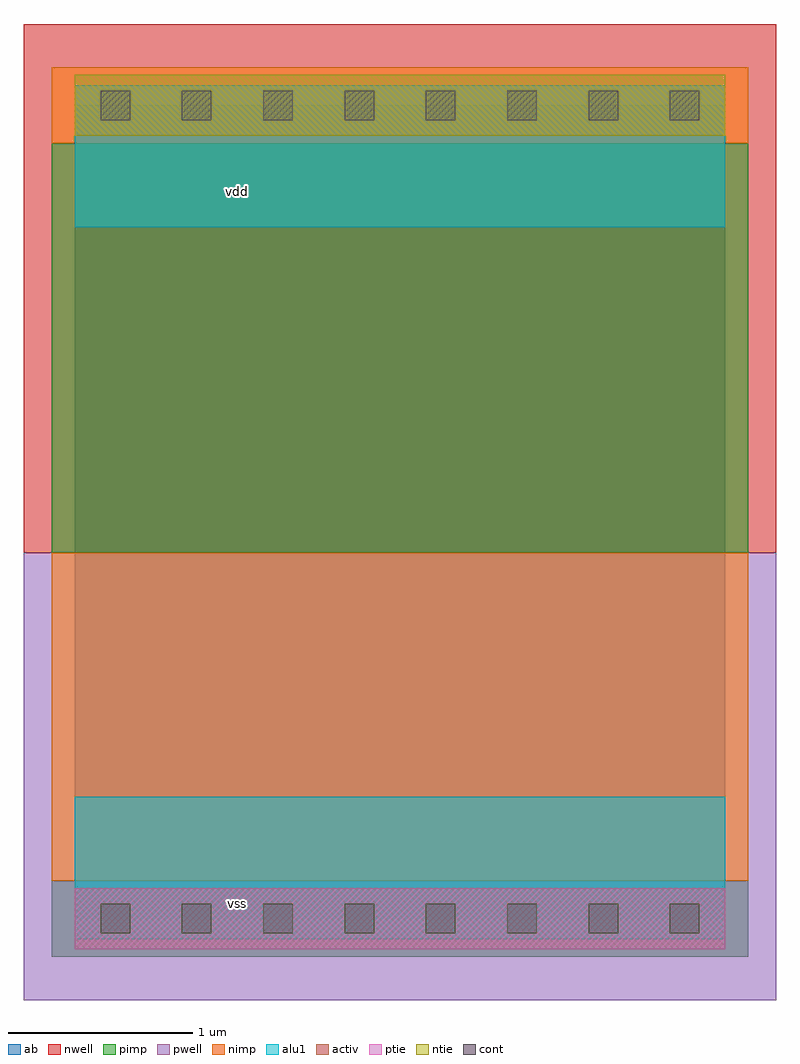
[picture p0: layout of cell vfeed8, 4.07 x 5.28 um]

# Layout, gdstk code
import gdstk
lib = gdstk.Library(unit=1e-6, precision=2.5e-09)
def R(c, l, rs):  # rectangles x0, y0, x1, y1
    for r in rs: c.add(gdstk.rectangle(r[:2], r[2:], *l))
def A(c, l, x, y, w, h, nx, ny, dx, dy):  # array of equal rectangles
    R(c, l, [(x+i*dx, y+j*dy, x+i*dx+w, y+j*dy+h) for i in range(nx) for j in range(ny)])
ntie = (5, 0)
ptie = (6, 0)
cont = (25, 0)
pwell = (41, 0)
nwell = (42, 0)
activ = (43, 0)
pimp = (44, 0)
nimp = (45, 0)
alu1 = (49, 0)
ab = (63, 0)

vfeed8 = lib.new_cell('vfeed8')
R(vfeed8, ntie, [(0,4.235,3.52,4.565)])
R(vfeed8, ptie, [(0,-0.165,3.52,0.165)])
A(vfeed8, cont, 0.14, -0.08, 0.16, 0.16, 8, 2, 0.44, 4.4)
R(vfeed8, pwell, [(-0.275,-0.44,3.795,1.98)])
R(vfeed8, nwell, [(-0.275,1.98,3.795,4.84)])
R(vfeed8, activ, [(0,-0.165,3.52,0.165), (0,4.235,3.52,4.565)])
R(vfeed8, pimp, [(-0.125,-0.205,3.645,0.205), (-0.125,1.98,3.645,4.195)])
R(vfeed8, nimp, [(-0.125,0.205,3.645,1.98), (-0.125,4.195,3.645,4.605)])
R(vfeed8, alu1, [(0,-0.11,3.52,0.66), (0,3.74,3.52,4.51)])
R(vfeed8, ab, [(0,0,3.52,4.4)])
vfeed8.add(gdstk.Label('vss', (0.88,0.0825), layer=49, texttype=0))
vfeed8.add(gdstk.Label('vdd', (0.88,3.9325), layer=49, texttype=0))

lib.write_gds('vfeed8.gds')
